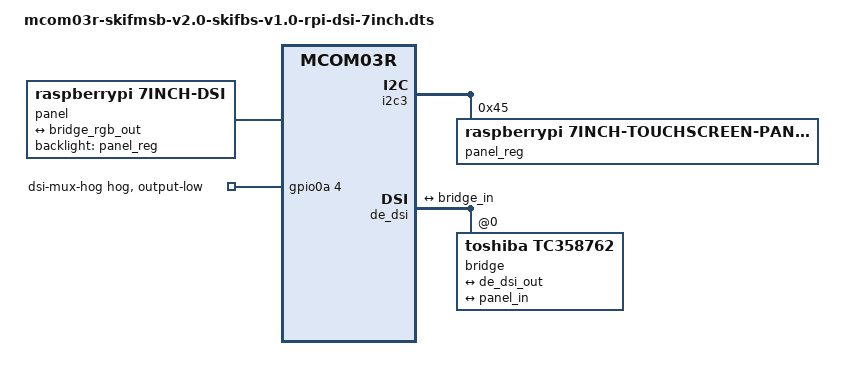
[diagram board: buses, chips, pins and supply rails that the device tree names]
// SPDX-License-Identifier: GPL-2.0+
// Copyright 2025 RnD Center "ELVEES", JSC

/dts-v1/;

#include <dt-bindings/gpio/gpio.h>

#include "mcom03r-skifmsb-v2.0-skifbs-v1.0.dts"

/ {
	compatible = "elvees,skifmsb-v2.0-skifbs-v1.0-rpi-dsi-7inch",
		     "elvees,skifmsb-v2.0-skifbs-v1.0",
		     "elvees,skifmsb-skifbs",
		     "elvees,skifbs-v1.0",
		     "elvees,skifbs",
		     "elvees,skifmsb-v2.0",
		     "elvees,skifmsb",
		     "elvees,mcom03r";

	panel {
		#address-cells = <1>;
		#size-cells = <0>;
		compatible = "raspberrypi,7inch-dsi";
		backlight = <&panel_reg>;

		ports {
			#address-cells = <1>;
			#size-cells = <0>;

			port {
				panel_in: endpoint {
					remote-endpoint = <&bridge_rgb_out>;
				};
			};
		};
	};
};

&gpio0a {
	dsi-mux-hog {
		gpio-hog;
		gpios = <4 GPIO_ACTIVE_HIGH>;
		output-low;
	};
};

&i2c3 {
	panel_reg: regulator@45 {
		compatible = "raspberrypi,7inch-touchscreen-panel-regulator";
		reg = <0x45>;
		gpio-controller;
		#gpio-cells = <2>;
	};
};

&de_dsi {
	status = "okay";

	bridge@0 {
		#address-cells = <1>;
		#size-cells = <0>;
		compatible = "toshiba,tc358762";
		reg = <0>;

		ports {
			#address-cells = <1>;
			#size-cells = <0>;

			port@0 {
				reg = <0>;

				bridge_in: endpoint {
					remote-endpoint = <&de_dsi_out>;
				};
			};

			port@1 {
				reg = <1>;

				bridge_rgb_out: endpoint {
					remote-endpoint = <&panel_in>;
				};
			};
		};
	};

	ports {
		port@1 {
			reg = <1>;

			de_dsi_out: endpoint {
				remote-endpoint = <&bridge_in>;
			};
		};
	};
};
